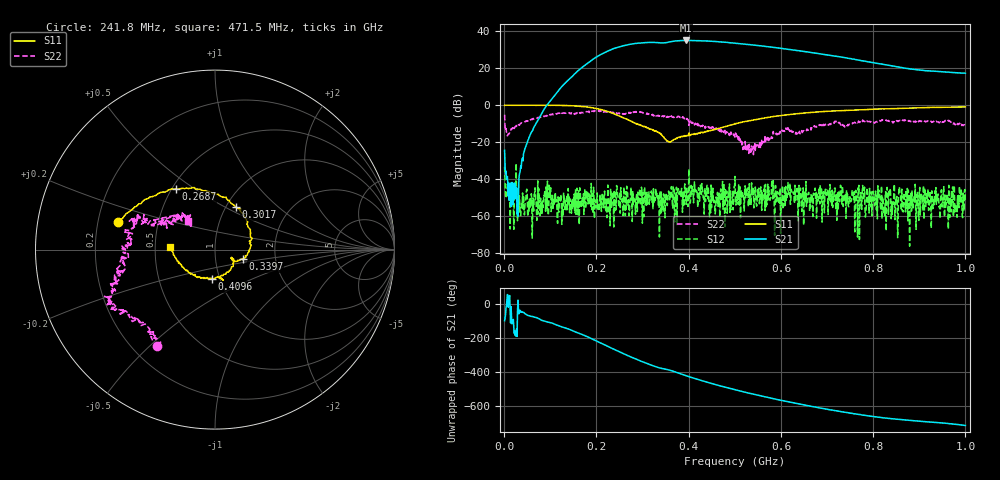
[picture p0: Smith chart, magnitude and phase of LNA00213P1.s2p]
! Created with skrf 1.9.0 (http://scikit-rf.org).
# Hz S RI R 50.0
!freq ReS11 ImS11 ReS21 ImS21 ReS12 ImS12 ReS22 ImS22
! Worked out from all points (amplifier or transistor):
!   1001 points, 1 MHz to 1 GHz, reference 50 ohm
!   highest |S21| = 35.0 dB at 394.6 MHz (marker M1)
!   |S21| within 3 dB of that: 256.2 MHz to 558.5 MHz (302.3 MHz wide, 74.2 % of centre)
!   unconditionally stable (mu >= 1): start of sweep to 87.82 MHz; 297.7 MHz to 400.2 MHz; 401 MHz to end of sweep (the widest 3 of 30)
!   at 166.8 MHz: K = 2.33, MAG = 31.3 dB, |S12| = -55.5 dB
!   at 500.5 MHz: K = 1.02, MAG = 35.1 dB, |S12| = -38.6 dB
!   at 1 GHz: K = 5.24, MAG = 24.7 dB, |S12| = -52.5 dB
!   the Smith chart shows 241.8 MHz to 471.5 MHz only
!   S11 on the Smith chart (normalised r, x): 241.8 MHz: 0.29, +0.13; 268.7 MHz: 0.52, +0.42; 301.7 MHz: 1.11, +0.57; 339.7 MHz: 1.35, -0.14; 409.6 MHz: 0.92, -0.31; 471.5 MHz: 0.60, +0.02
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1000000  0.9856 0.00362  -0.00952 -0.0591  -0.0179 0.0121  0.385 0.3904
1.08892e8  0.5041 -0.8529  -0.8503 -1.581  -0.00297 -0.000314  0.4259 -0.3732
1.67833e8  -0.2638 -0.8838  -10.26 -0.3299  0.00258 -0.000613  0.0499 -0.6336
2.08792e8  -0.673 -0.3687  -15.51 17.28  -0.000839 -0.00184  -0.1942 -0.6491
2.41759e8  -0.5395 0.1513  0.4676 35.29  -0.00323 -0.00131  -0.3215 -0.5363
2.68732e8  -0.2184 0.338  23.98 35.72  -0.00128 0.00145  -0.4772 -0.3625
3.01699e8  0.1145 0.2379  46.07 15.56  -0.00131 -0.00122  -0.5699 -0.2362
3.18682e8  0.1971 0.1118  49.88 1.292  -0.00373 0.00275  -0.5299 -0.1469
3.34666e8  0.1825 -0.0233  47.56 -11.49  -0.00136 0.00116  -0.5219 -0.0452
3.39661e8  0.1538 -0.0515  46.25 -14.21  0.00104 0.00036  -0.5123 -0.0149
3.68632e8  0.1043 -0.0586  43.03 -32.64  -0.0017 0.00471  -0.452 0.1343
3.94606e8  0.0481 -0.1384  26.92 -49.34  0.00204 0.000364  -0.4105 0.1417
4.09591e8  -0.0168 -0.1633  15.17 -53.74  0.00148 0.00517  -0.2897 0.1546
4.38562e8  -0.149 -0.1242  -7.688 -53.75  0.00217 0.0028  -0.1848 0.1929
4.71529e8  -0.2487 0.014  -27.71 -42.83  0.00265 0.00308  -0.1499 0.159
5.005e8  -0.2699 0.1699  -38.42 -28.21  0.0065 0.00983  -0.0921 0.0984
5.4046e8  -0.1682 0.3572  -41.47 -7.451  0.00368 -0.00458  -0.0348 0.0299
5.88412e8  0.0377 0.5021  -33.98 11.83  0.00426 -0.00516  -0.1311 -0.0913
6.67333e8  0.4087 0.4909  -12.36 23.11  0.00198 -0.00252  -0.2446 -0.0173
7.49251e8  0.6635 0.2914  3.129 17.98  -0.00248 -0.00143  -0.2891 0.0704
8.34166e8  0.7964 0.0293  7.932 8.891  -0.0043 0.00171  -0.3496 0.1339
1e9  0.7335 -0.5154  7.259 0.8873  0.00209 -0.00114  -0.0873 0.2647
